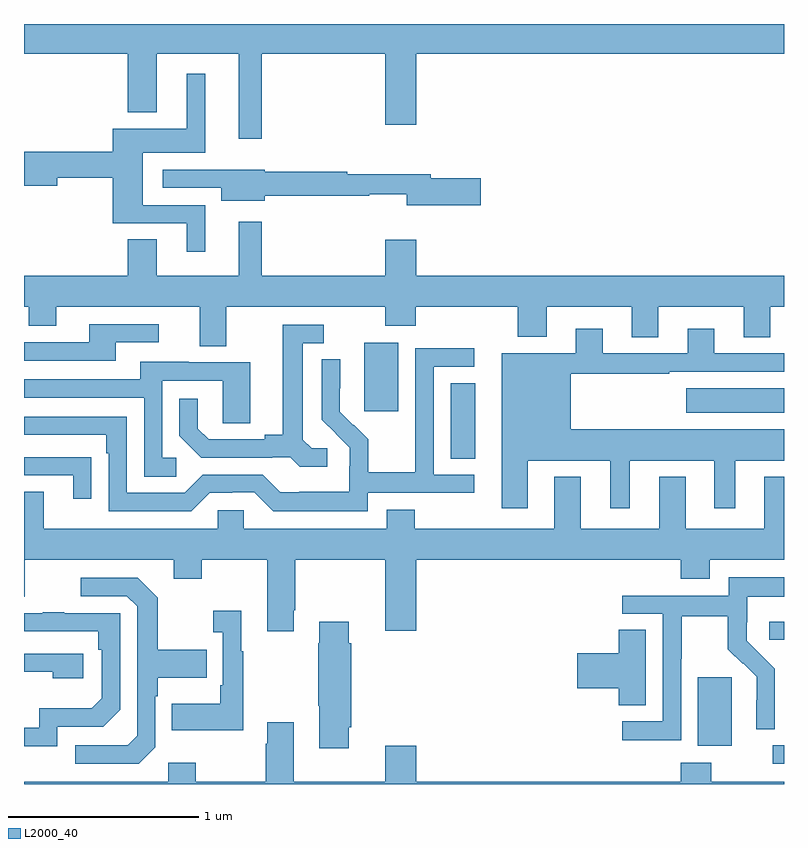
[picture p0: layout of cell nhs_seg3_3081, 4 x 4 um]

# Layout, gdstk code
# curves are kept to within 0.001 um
import gdstk
lib = gdstk.Library(unit=1e-6, precision=1e-09)
def R(c, l, rs):  # rectangles x0, y0, x1, y1
    for r in rs: c.add(gdstk.rectangle(r[:2], r[2:], *l))
def P(c, l, *ps):  # polygons
    for p in ps: c.add(gdstk.Polygon(p, *l))
L2000_40 = (2000, 40)

nhs_seg3_3081 = lib.new_cell('nhs_seg3_3081')
R(nhs_seg3_3081, L2000_40, [(274.941,702.507,275,702.603), (274.547,702.602,274.726,702.963), (274.923,703.158,275,703.255), (273.245,704.113,273.376,704.51), (274.485,704.354,275,704.482), (272.792,704.361,272.971,704.722)])
P(nhs_seg3_3081, L2000_40, [(272.251,706.244),(272.9,706.244),(272.9,705.87),(273.064,705.87),(273.064,706.244),(275,706.244),(275,706.4),(271,706.4),(271,706.244),(271.547,706.244),(271.547,705.935),(271.699,705.935),(271.699,706.244),(272.129,706.244),(272.129,705.795),(272.251,705.795)],
  [(271.954,705.447),(271.624,705.447),(271.624,705.722),(271.954,705.722),(271.954,706.138),(271.856,706.138),(271.856,705.85),(271.466,705.85),(271.466,705.728),(271,705.728),(271,705.55),(271.174,705.55),(271.174,705.592),(271.466,705.592),(271.466,705.351),(271.856,705.351),(271.856,705.201),(271.954,705.201)],
  [(273.403,705.587),(273.142,705.587),(273.142,705.608),(272.7,705.608),(272.7,705.623),(272.266,705.623),(272.266,705.634),(272.043,705.634),(272.043,705.633),(271.731,705.633),(271.731,705.537),(272.039,705.537),(272.039,705.47),(272.266,705.47),(272.266,705.495),(272.818,705.495),(272.818,705.505),(273.014,705.505),(273.014,705.445),(273.403,705.445)],
  [(272.065,704.912),(272.902,704.912),(272.902,704.813),(273.062,704.813),(273.062,704.912),(273.599,704.912),(273.599,704.753),(273.751,704.753),(273.751,704.912),(274.199,704.912),(274.199,704.752),(274.339,704.752),(274.339,704.912),(274.787,704.912),(274.787,704.752),(274.927,704.752),(274.927,704.912),(275,704.912),(275,705.076),(273.064,705.076),(273.064,705.265),(272.9,705.265),(272.9,705.076),(272.251,705.076),(272.251,705.358),(272.129,705.358),(272.129,705.076),(271.699,705.076),(271.699,705.266),(271.547,705.266),(271.547,705.076),(271,705.076),(271,704.912),(271.024,704.912),(271.024,704.813),(271.171,704.813),(271.171,704.912),(271.925,704.912),(271.925,704.704),(272.065,704.704)],
  [(271.483,704.724),(271.708,704.724),(271.708,704.82),(271.343,704.82),(271.343,704.724),(271,704.724),(271,704.628),(271.483,704.628)],
  [(272.596,704.166),(272.514,704.166),(272.467,704.213),(272.467,704.721),(272.578,704.721),(272.578,704.817),(272.363,704.817),(272.363,704.237),(272.267,704.237),(272.267,704.214),(271.972,704.214),(271.915,704.271),(271.915,704.428),(271.818,704.428),(271.818,704.234),(271.934,704.118),(272.306,704.118),(272.306,704.121),(272.4,704.121),(272.452,704.069),(272.596,704.069)],
  [(273.652,704.102),(274.085,704.102),(274.085,703.851),(274.189,703.851),(274.189,704.102),(274.634,704.102),(274.634,703.851),(274.744,703.851),(274.744,704.102),(275,704.102),(275,704.266),(273.877,704.266),(273.877,704.559),(274.397,704.559),(274.397,704.571),(275,704.571),(275,704.667),(274.633,704.667),(274.633,704.797),(274.493,704.797),(274.493,704.667),(274.045,704.667),(274.045,704.797),(273.905,704.797),(273.905,704.668),(273.515,704.668),(273.515,703.851),(273.652,703.851)],
  [(272.808,703.932),(273.37,703.932),(273.37,704.028),(273.156,704.028),(273.156,704.595),(273.37,704.595),(273.37,704.694),(273.06,704.694),(273.06,704.264),(273.058,704.264),(273.058,704.041),(272.813,704.041),(272.813,704.215),(272.736,704.292),(272.733,704.289),(272.663,704.36),(272.664,704.636),(272.568,704.636),(272.568,704.318),(272.714,704.17),(272.714,704.073),(272.712,704.073),(272.712,703.939),(272.449,703.939),(272.449,703.935),(272.349,703.935),(272.256,704.028),(271.941,704.028),(271.845,703.932),(271.542,703.932),(271.542,704.334),(271,704.334),(271,704.238),(271.433,704.238),(271.433,704.141),(271.446,704.141),(271.446,703.836),(271.881,703.836),(271.977,703.932),(272.096,703.932),(272.096,703.935),(272.211,703.935),(272.311,703.835),(272.808,703.835)],
  [(271.801,704.118),(271.728,704.118),(271.728,704.523),(272.046,704.523),(272.046,704.299),(272.191,704.299),(272.191,704.619),(271.867,704.619),(271.867,704.623),(271.613,704.623),(271.613,704.529),(271,704.529),(271,704.433),(271.632,704.433),(271.632,704.017),(271.801,704.017)],
  [(271.355,704.12),(271.253,704.12),(271.253,704.121),(271,704.121),(271,704.025),(271.259,704.025),(271.259,703.902),(271.355,703.902)],
  [(272.157,703.842),(272.019,703.842),(272.019,703.744),(271.105,703.744),(271.105,703.939),(271,703.939),(271,703.386),(271.003,703.386),(271.003,703.58),(271.787,703.58),(271.787,703.481),(271.935,703.481),(271.935,703.58),(272.279,703.58),(272.279,703.203),(272.419,703.203),(272.419,703.315),(272.427,703.315),(272.427,703.58),(272.9,703.58),(272.9,703.206),(273.064,703.206),(273.064,703.58),(274.457,703.58),(274.457,703.481),(274.609,703.481),(274.609,703.58),(275,703.58),(275,704.017),(274.895,704.017),(274.895,703.744),(274.483,703.744),(274.483,704.017),(274.343,704.017),(274.343,703.744),(273.931,703.744),(273.931,704.017),(273.791,704.017),(273.791,703.744),(273.057,703.744),(273.057,703.843),(272.909,703.843),(272.909,703.744),(272.157,703.744)],
  [(274.458,703.06),(274.461,703.06),(274.461,703.284),(274.705,703.284),(274.705,703.109),(274.782,703.032),(274.785,703.035),(274.856,702.965),(274.856,702.842),(274.854,702.842),(274.854,702.688),(274.95,702.688),(274.95,703.006),(274.804,703.154),(274.804,703.251),(274.806,703.251),(274.806,703.385),(275,703.385),(275,703.489),(274.71,703.489),(274.71,703.392),(274.149,703.392),(274.149,703.296),(274.362,703.296),(274.362,702.729),(274.149,702.729),(274.149,702.631),(274.458,702.631)],
  [(271.692,702.594),(271.692,702.863),(271.705,702.863),(271.705,702.959),(271.961,702.959),(271.961,703.107),(271.705,703.107),(271.705,703.379),(271.599,703.485),(271.299,703.485),(271.299,703.389),(271.542,703.389),(271.596,703.335),(271.596,702.654),(271.545,702.603),(271.269,702.603),(271.269,702.507),(271.605,702.507)],
  [(272.155,703.099),(272.143,703.099),(272.143,703.312),(271.995,703.312),(271.995,703.199),(272.046,703.199),(272.046,702.919),(272.034,702.919),(272.034,702.823),(271.777,702.823),(271.777,702.683),(272.155,702.683)],
  [(271.176,702.702),(271.416,702.702),(271.506,702.792),(271.506,703.299),(271.211,703.299),(271.211,703.304),(271.099,703.304),(271.099,703.299),(271,703.299),(271,703.203),(271.39,703.203),(271.39,703.106),(271.41,703.106),(271.41,702.852),(271.357,702.799),(271.08,702.799),(271.08,702.696),(271,702.696),(271,702.6),(271.176,702.6)],
  [(272.71,702.7),(272.723,702.7),(272.723,703.142),(272.71,703.142),(272.71,703.255),(272.555,703.255),(272.555,703.142),(272.548,703.142),(272.548,702.811),(272.555,702.811),(272.555,702.588),(272.71,702.588)],
  [(274.273,703.211),(274.13,703.211),(274.13,703.088),(273.912,703.088),(273.912,702.905),(274.13,702.905),(274.13,702.814),(274.273,702.814)],
  [(271.312,703.086),(271,703.086),(271,702.99),(271.151,702.99),(271.151,702.956),(271.312,702.956)],
  [(275,702.412),(274.617,702.412),(274.617,702.511),(274.457,702.511),(274.457,702.412),(273.064,702.412),(273.064,702.601),(272.9,702.601),(272.9,702.412),(272.419,702.412),(272.419,702.724),(272.279,702.724),(272.279,702.611),(272.272,702.611),(272.272,702.412),(271.905,702.412),(271.905,702.511),(271.758,702.511),(271.758,702.412),(271,702.412),(271,702.4),(275,702.4)])

lib.write_gds('nhs_seg3_3081.gds')
